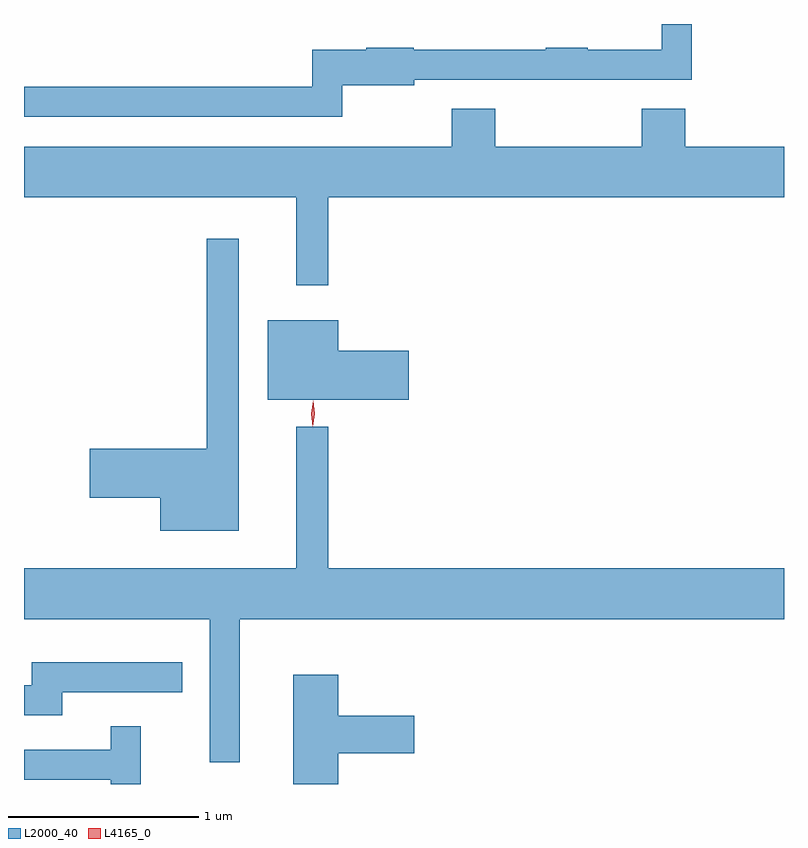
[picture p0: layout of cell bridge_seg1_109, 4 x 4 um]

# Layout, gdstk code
import gdstk
lib = gdstk.Library(unit=1e-6, precision=1e-09)
def P(c, l, *ps):  # polygons
    for p in ps: c.add(gdstk.Polygon(p, *l))
L2000_40 = (2000, 40)
L4165_0 = (4165, 0)

bridge_seg1_109 = lib.new_cell('bridge_seg1_109')
P(bridge_seg1_109, L2000_40, [(1426.524,882.406),(1426.904,882.406),(1426.904,882.436),(1428.364,882.436),(1428.364,882.729),(1428.206,882.729),(1428.206,882.594),(1427.815,882.594),(1427.815,882.604),(1427.595,882.604),(1427.595,882.594),(1426.9,882.594),(1426.9,882.604),(1426.65,882.604),(1426.65,882.594),(1426.366,882.594),(1426.366,882.399),(1424.849,882.399),(1424.849,882.241),(1426.524,882.241)],
  [(1426.449,881.816),(1428.849,881.816),(1428.849,882.084),(1428.329,882.084),(1428.329,882.284),(1428.101,882.284),(1428.101,882.084),(1427.329,882.084),(1427.329,882.284),(1427.101,882.284),(1427.101,882.084),(1424.849,882.084),(1424.849,881.816),(1426.281,881.816),(1426.281,881.353),(1426.449,881.353)],
  [(1425.979,881.598),(1425.811,881.598),(1425.811,880.494),(1425.196,880.494),(1425.196,880.236),(1425.566,880.236),(1425.566,880.061),(1425.979,880.061)],
  [(1426.874,881.009),(1426.504,881.009),(1426.504,881.169),(1426.131,881.169),(1426.131,880.751),(1426.874,880.751)],
  [(1425.984,879.596),(1428.849,879.596),(1428.849,879.864),(1426.449,879.864),(1426.449,880.608),(1426.281,880.608),(1426.281,879.864),(1424.849,879.864),(1424.849,879.596),(1425.826,879.596),(1425.826,878.843),(1425.984,878.843)],
  [(1425.049,879.211),(1425.683,879.211),(1425.683,879.369),(1424.891,879.369),(1424.891,879.249),(1424.849,879.249),(1424.849,879.091),(1425.049,879.091)],
  [(1426.504,878.891),(1426.904,878.891),(1426.904,879.089),(1426.504,879.089),(1426.504,879.304),(1426.266,879.304),(1426.266,878.729),(1426.504,878.729)],
  [(1425.464,879.033),(1425.306,879.033),(1425.306,878.909),(1424.849,878.909),(1424.849,878.751),(1425.306,878.751),(1425.306,878.729),(1425.464,878.729)])
P(bridge_seg1_109, L4165_0, [(1426.369,880.61),(1426.361,880.678),(1426.371,880.745),(1426.371,880.746),(1426.372,880.745),(1426.38,880.678),(1426.37,880.61),(1426.37,880.61)],
  [(1426.37,880.613),(1426.369,880.614),(1426.361,880.676),(1426.371,880.739),(1426.371,880.74),(1426.372,880.739),(1426.38,880.676),(1426.37,880.614)])

lib.write_gds('bridge_seg1_109.gds')
